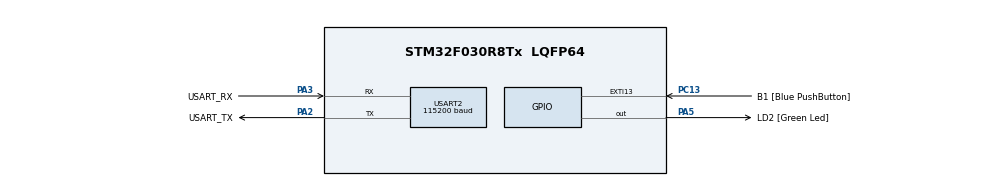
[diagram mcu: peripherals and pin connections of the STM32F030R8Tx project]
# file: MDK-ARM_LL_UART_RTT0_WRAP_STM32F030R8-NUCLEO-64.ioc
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Mcu.Family=STM32F0
Mcu.Name=STM32F030R8Tx
Mcu.Package=LQFP64
NVIC.USART2_IRQn=true\:0\:0\:false\:false\:true\:true\:true
PA13.GPIO_Label=TMS
PA13.Mode=Serial_Wire
PA13.Signal=SYS_SWDIO
PA14.GPIO_Label=TCK
PA14.Mode=Serial_Wire
PA14.Signal=SYS_SWCLK
PA2.GPIO_Label=USART_TX
PA2.GPIO_Mode=GPIO_MODE_AF_PP
PA2.GPIO_PuPd=GPIO_NOPULL
PA2.GPIO_Speed=GPIO_SPEED_FREQ_LOW
PA2.Mode=Asynchronous
PA2.Signal=USART2_TX
PA3.GPIO_Label=USART_RX
PA3.GPIO_Mode=GPIO_MODE_AF_PP
PA3.GPIO_PuPd=GPIO_NOPULL
PA3.GPIO_Speed=GPIO_SPEED_FREQ_LOW
PA3.Mode=Asynchronous
PA3.Signal=USART2_RX
PA5.GPIO_Label=LD2 [Green Led]
PA5.GPIO_Mode=GPIO_MODE_OUTPUT_PP
PA5.GPIO_PuPd=GPIO_NOPULL
PA5.GPIO_Speed=GPIO_SPEED_FREQ_LOW
PA5.Signal=GPIO_Output
PC13.GPIO_Label=B1 [Blue PushButton]
PC13.GPIO_ModeDefaultEXTI=GPIO_MODE_IT_FALLING
PC13.Signal=GPXTI13
PC14-OSC32_IN.Mode=LSE-External-Oscillator
PC14-OSC32_IN.Signal=RCC_OSC32_IN
PC15-OSC32_OUT.Mode=LSE-External-Oscillator
PC15-OSC32_OUT.Signal=RCC_OSC32_OUT
PF0-OSC_IN.Mode=HSE-External-Clock-Source
PF0-OSC_IN.Signal=RCC_OSC_IN
PF1-OSC_OUT.Signal=RCC_OSC_OUT
ProjectManager.HeapSize=0x200
ProjectManager.StackSize=0x400
ProjectManager.TargetToolchain=MDK-ARM V5.27
RCC.AHBFreq_Value=48000000
RCC.APB1Freq_Value=48000000
RCC.APB1TimFreq_Value=48000000
RCC.HCLKFreq_Value=48000000
RCC.PLLMUL=RCC_PLL_MUL12
RCC.SYSCLKFreq_VALUE=48000000
RCC.SYSCLKSource=RCC_SYSCLKSOURCE_PLLCLK
USART2.BaudRate=115200
USART2.VirtualMode-Asynchronous=VM_ASYNC
board=NUCLEO-F030R8

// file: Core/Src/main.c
/* USER CODE BEGIN Header */
/**
  ******************************************************************************
  * @file           : main.c
  * @brief          : Main program body
  ******************************************************************************
  * @attention
  *
  * <h2><center>&copy; Copyright (c) 2020 STMicroelectronics.
  * All rights reserved.</center></h2>
  *
  * This software component is licensed by ST under BSD 3-Clause license,
  * the "License"; You may not use this file except in compliance with the
  * License. You may obtain a copy of the License at:
  *                        opensource.org/licenses/BSD-3-Clause
  *
  ******************************************************************************
  */
/* USER CODE END Header */
#include "main.h"

/* USER CODE BEGIN Includes */
#include "trice.h"
#include "./intern/triceBareFifoToBytesBuffer.h"
/* USER CODE END Includes */

/* USER CODE BEGIN PV */
int milliSecond = 0;
/* USER CODE END PV */

void SystemClock_Config(void);
static void MX_GPIO_Init(void);
static void MX_USART2_UART_Init(void);

int main(void)
{

  /* MCU Configuration--------------------------------------------------------*/

  /* Reset of all peripherals, Initializes the Flash interface and the Systick. */

  LL_APB1_GRP2_EnableClock(LL_APB1_GRP2_PERIPH_SYSCFG);
  LL_APB1_GRP1_EnableClock(LL_APB1_GRP1_PERIPH_PWR);

  /* System interrupt init*/

  /* Configure the system clock */
  SystemClock_Config();

  /* USER CODE BEGIN SysInit */
    SysTick->CTRL |= SysTick_CTRL_TICKINT_Msk; // enable SysTick interrupt
  /* USER CODE END SysInit */

  /* Initialize all configured peripherals */
  MX_GPIO_Init();
  MX_USART2_UART_Init();
  /* USER CODE BEGIN 2 */
    LL_USART_EnableIT_RXNE(TRICE_UART); // enable UART2 interrupt
    TRICE0( Id(47524), "s:                                                   \ns:   MDK-ARM_LL_UART_RTT0_WRAP_STM32F030_NUCLEO-64   \ns:                                                   \n\n");
  /* USER CODE END 2 */

  /* Infinite loop */
  /* USER CODE BEGIN WHILE */
  while (1)
  {
    static int lastTricesTime = 0;
    { // send some trices every few ms
        if( milliSecond >= lastTricesTime + 500 ){
            static int index = 0;
            triceCheckSet(index%10);
            index++;
            lastTricesTime = milliSecond;
        }
    }
    /* USER CODE END WHILE */

    /* USER CODE BEGIN 3 */
        { // serve every few ms
            static int lastMs = 0;
            if( milliSecond >= lastMs + 1 ){
                lastMs = milliSecond;
                triceServeBareFifoToBytesBuffer(WRAPPED_BARE_ENCODING);
            }
        }
  }
  /* USER CODE END 3 */
}

void SystemClock_Config(void)
{
  LL_FLASH_SetLatency(LL_FLASH_LATENCY_1);
  while(LL_FLASH_GetLatency() != LL_FLASH_LATENCY_1)
  {
  }
  LL_RCC_HSI_Enable();

   /* Wait till HSI is ready */
  while(LL_RCC_HSI_IsReady() != 1)
  {

  }
  LL_RCC_HSI_SetCalibTrimming(16);
  LL_RCC_PLL_ConfigDomain_SYS(LL_RCC_PLLSOURCE_HSI_DIV_2, LL_RCC_PLL_MUL_12);
  LL_RCC_PLL_Enable();

   /* Wait till PLL is ready */
  while(LL_RCC_PLL_IsReady() != 1)
  {

  }
  LL_RCC_SetAHBPrescaler(LL_RCC_SYSCLK_DIV_1);
  LL_RCC_SetAPB1Prescaler(LL_RCC_APB1_DIV_1);
  LL_RCC_SetSysClkSource(LL_RCC_SYS_CLKSOURCE_PLL);

   /* Wait till System clock is ready */
  while(LL_RCC_GetSysClkSource() != LL_RCC_SYS_CLKSOURCE_STATUS_PLL)
  {

  }
  LL_Init1msTick(48000000);
  LL_SetSystemCoreClock(48000000);
}

static void MX_USART2_UART_Init(void)
{

  LL_USART_InitTypeDef USART_InitStruct = {0};

  LL_GPIO_InitTypeDef GPIO_InitStruct = {0};

  /* Peripheral clock enable */
  LL_APB1_GRP1_EnableClock(LL_APB1_GRP1_PERIPH_USART2);

  LL_AHB1_GRP1_EnableClock(LL_AHB1_GRP1_PERIPH_GPIOA);
  /**USART2 GPIO Configuration
  PA2   ------> USART2_TX
  PA3   ------> USART2_RX
  */
  GPIO_InitStruct.Pin = USART_TX_Pin;
  GPIO_InitStruct.Mode = LL_GPIO_MODE_ALTERNATE;
  GPIO_InitStruct.Speed = LL_GPIO_SPEED_FREQ_LOW;
  GPIO_InitStruct.OutputType = LL_GPIO_OUTPUT_PUSHPULL;
  GPIO_InitStruct.Pull = LL_GPIO_PULL_NO;
  GPIO_InitStruct.Alternate = LL_GPIO_AF_1;
  LL_GPIO_Init(USART_TX_GPIO_Port, &GPIO_InitStruct);

  GPIO_InitStruct.Pin = USART_RX_Pin;
  GPIO_InitStruct.Mode = LL_GPIO_MODE_ALTERNATE;
  GPIO_InitStruct.Speed = LL_GPIO_SPEED_FREQ_LOW;
  GPIO_InitStruct.OutputType = LL_GPIO_OUTPUT_PUSHPULL;
  GPIO_InitStruct.Pull = LL_GPIO_PULL_NO;
  GPIO_InitStruct.Alternate = LL_GPIO_AF_1;
  LL_GPIO_Init(USART_RX_GPIO_Port, &GPIO_InitStruct);

  /* USART2 interrupt Init */
  NVIC_SetPriority(USART2_IRQn, 0);
  NVIC_EnableIRQ(USART2_IRQn);

  USART_InitStruct.BaudRate = 115200;
  USART_InitStruct.DataWidth = LL_USART_DATAWIDTH_8B;
  USART_InitStruct.StopBits = LL_USART_STOPBITS_1;
  USART_InitStruct.Parity = LL_USART_PARITY_NONE;
  USART_InitStruct.TransferDirection = LL_USART_DIRECTION_TX_RX;
  USART_InitStruct.HardwareFlowControl = LL_USART_HWCONTROL_NONE;
  USART_InitStruct.OverSampling = LL_USART_OVERSAMPLING_16;
  LL_USART_Init(USART2, &USART_InitStruct);
  LL_USART_DisableIT_CTS(USART2);
  LL_USART_ConfigAsyncMode(USART2);
  LL_USART_Enable(USART2);

}

static void MX_GPIO_Init(void)
{
  LL_EXTI_InitTypeDef EXTI_InitStruct = {0};
  LL_GPIO_InitTypeDef GPIO_InitStruct = {0};

  /* GPIO Ports Clock Enable */
  LL_AHB1_GRP1_EnableClock(LL_AHB1_GRP1_PERIPH_GPIOC);
  LL_AHB1_GRP1_EnableClock(LL_AHB1_GRP1_PERIPH_GPIOF);
  LL_AHB1_GRP1_EnableClock(LL_AHB1_GRP1_PERIPH_GPIOA);

  /**/
  LL_GPIO_ResetOutputPin(LD2_GPIO_Port, LD2_Pin);

  /**/
  LL_SYSCFG_SetEXTISource(LL_SYSCFG_EXTI_PORTC, LL_SYSCFG_EXTI_LINE13);

  /**/
  LL_GPIO_SetPinPull(B1_GPIO_Port, B1_Pin, LL_GPIO_PULL_NO);

  /**/
  LL_GPIO_SetPinMode(B1_GPIO_Port, B1_Pin, LL_GPIO_MODE_INPUT);

  /**/
  EXTI_InitStruct.Line_0_31 = LL_EXTI_LINE_13;
  EXTI_InitStruct.LineCommand = ENABLE;
  EXTI_InitStruct.Mode = LL_EXTI_MODE_IT;
  EXTI_InitStruct.Trigger = LL_EXTI_TRIGGER_FALLING;
  LL_EXTI_Init(&EXTI_InitStruct);

  /**/
  GPIO_InitStruct.Pin = LD2_Pin;
  GPIO_InitStruct.Mode = LL_GPIO_MODE_OUTPUT;
  GPIO_InitStruct.Speed = LL_GPIO_SPEED_FREQ_LOW;
  GPIO_InitStruct.OutputType = LL_GPIO_OUTPUT_PUSHPULL;
  GPIO_InitStruct.Pull = LL_GPIO_PULL_NO;
  LL_GPIO_Init(LD2_GPIO_Port, &GPIO_InitStruct);

}

void Error_Handler(void)
{
  __disable_irq();
  while (1)
  {
  }
}

/************************ (C) COPYRIGHT STMicroelectronics *****END OF FILE****/
